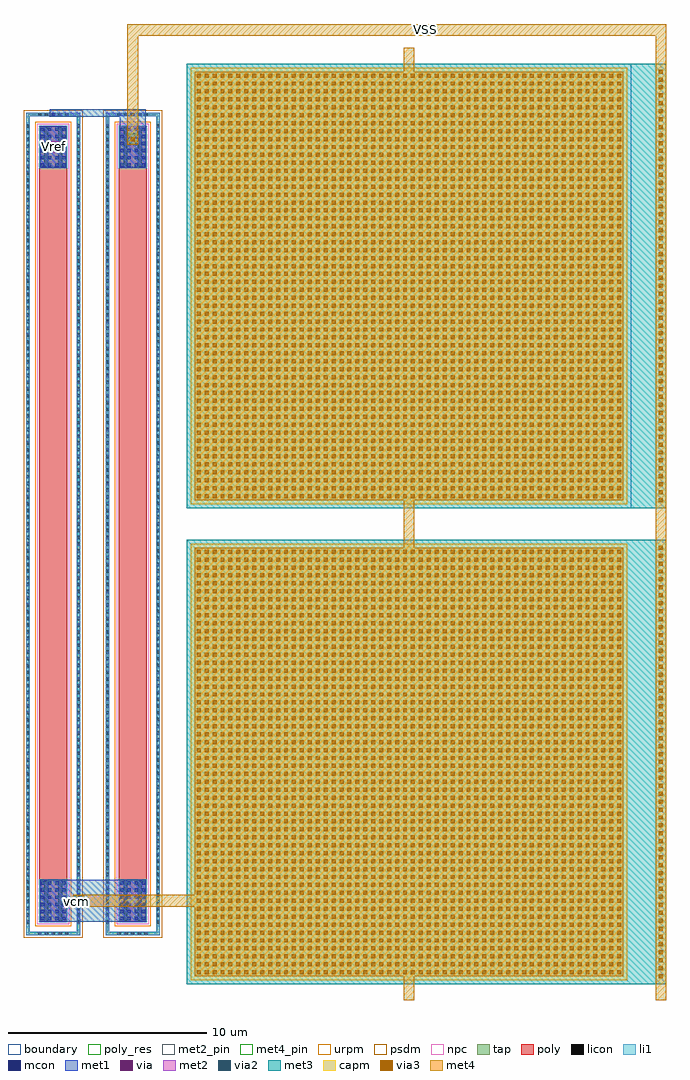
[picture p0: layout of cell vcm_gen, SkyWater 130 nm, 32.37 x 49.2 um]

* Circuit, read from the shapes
.subckt vcm_gen VSS Vref vcm
XC1 vcm VSS sky130_fd_pr__cap_mim_m3_1 w=22 l=22 m=2
XR2 Vref vcm VSS sky130_fd_pr__res_xhigh_po w=1.41 l=35.88
XR3 VSS vcm VSS sky130_fd_pr__res_xhigh_po w=1.41 l=35.88
.ends

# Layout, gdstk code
import gdstk
lib = gdstk.Library(unit=1e-6, precision=1e-09)
def R(c, l, rs):  # rectangles x0, y0, x1, y1
    for r in rs: c.add(gdstk.rectangle(r[:2], r[2:], *l))
def A(c, l, x, y, w, h, nx, ny, dx, dy):  # array of equal rectangles
    R(c, l, [(x+i*dx, y+j*dy, x+i*dx+w, y+j*dy+h) for i in range(nx) for j in range(ny)])
tap = (65, 44)
poly_res = (66, 13)
poly = (66, 20)
licon = (66, 44)
li1 = (67, 20)
mcon = (67, 44)
met1 = (68, 20)
via = (68, 44)
met2_pin = (69, 16)
met2 = (69, 20)
via2 = (69, 44)
met3 = (70, 20)
via3 = (70, 44)
met4_pin = (71, 16)
met4 = (71, 20)
urpm = (79, 20)
capm = (89, 44)
psdm = (94, 20)
npc = (95, 20)
boundary = (235, 4)

sky130_fd_pr__res_xhigh_ = lib.new_cell('sky130_fd_pr__res_xhigh_po_1p41_BDUJGV')
R(sky130_fd_pr__res_xhigh_, tap, [(-1.355,-20.73,1.355,-20.56), (-1.355,-20.56,-1.185,20.56), (1.185,-20.56,1.355,20.56), (-1.355,20.56,1.355,20.73)])
R(sky130_fd_pr__res_xhigh_, poly_res, [(-0.705,-18,0.705,18)])
R(sky130_fd_pr__res_xhigh_, poly, [(-0.705,-20.08,0.705,20.08)])
A(sky130_fd_pr__res_xhigh_, licon, -0.765, -20.73, 0.17, 0.17, 5, 2, 0.34, 41.29)
A(sky130_fd_pr__res_xhigh_, licon, -1.355, -20.145, 0.17, 0.17, 1, 119, 0, 0.34)
A(sky130_fd_pr__res_xhigh_, licon, 1.185, -20.145, 0.17, 0.17, 1, 119, 0, 0.34)
R(sky130_fd_pr__res_xhigh_, licon, [(-0.45,-20,-0.26,-18), (0.26,-20,0.45,-18), (-0.45,18,-0.26,20), (0.26,18,0.45,20)])
R(sky130_fd_pr__res_xhigh_, li1, [(-1.355,-20.73,1.355,-20.56), (-1.355,-20.56,-1.185,20.56), (1.185,-20.56,1.355,20.56), (-0.705,-20.08,0.705,-17.92), (-0.705,17.92,0.705,20.08), (-1.355,20.56,1.355,20.73)])
A(sky130_fd_pr__res_xhigh_, mcon, -0.625, -19.985, 0.17, 0.17, 4, 6, 0.36, 0.36)
A(sky130_fd_pr__res_xhigh_, mcon, -0.625, 18.01, 0.17, 0.17, 4, 6, 0.36, 0.36)
R(sky130_fd_pr__res_xhigh_, met1, [(-0.655,-20.05,0.655,-17.945), (-0.655,17.945,0.655,20.05)])
R(sky130_fd_pr__res_xhigh_, urpm, [(-0.905,-20.28,0.905,20.28)])
R(sky130_fd_pr__res_xhigh_, psdm, [(-1.48,-20.855,1.48,20.855)])
R(sky130_fd_pr__res_xhigh_, npc, [(-0.8,-20.175,0.8,20.175)])
R(sky130_fd_pr__res_xhigh_, boundary, [(-1.27,-20.645,1.27,20.645)])
sky130_fd_pr__res_xhigh_.add(gdstk.Label('B', (0,-20.645), layer=67, texttype=5))
sky130_fd_pr__res_xhigh_.add(gdstk.Label('R1', (0,19.905), layer=67, texttype=5))
sky130_fd_pr__res_xhigh_.add(gdstk.Label('R2', (0,-19.905), layer=67, texttype=5))

sky130_fd_pr__cap_mim_m3 = lib.new_cell('sky130_fd_pr__cap_mim_m3_1_CGC2GW')
R(sky130_fd_pr__cap_mim_m3, met3, [(-12.08,-23.2,12.08,-0.8), (-12.08,0.8,12.08,23.2)])
A(sky130_fd_pr__cap_mim_m3, via3, 11.72, -22.9, 0.2, 0.2, 1, 55, 0, 0.4)
A(sky130_fd_pr__cap_mim_m3, via3, -11.58, -22.7, 0.2, 0.2, 54, 54, 0.4, 0.4)
A(sky130_fd_pr__cap_mim_m3, via3, 11.72, 1.1, 0.2, 0.2, 1, 55, 0, 0.4)
A(sky130_fd_pr__cap_mim_m3, via3, -11.58, 1.3, 0.2, 0.2, 54, 54, 0.4, 0.4)
R(sky130_fd_pr__cap_mim_m3, met4, [(-1.14,-24,-0.62,-22.805), (11.56,-24,12.08,24), (-11.685,-22.805,9.925,-1.195), (-1.14,-1.195,-0.62,1.195), (-11.685,1.195,9.925,22.805), (-1.14,22.805,-0.62,24)])
R(sky130_fd_pr__cap_mim_m3, capm, [(-11.88,-23,10.12,-1), (-11.88,1,10.12,23)])
R(sky130_fd_pr__cap_mim_m3, boundary, [(-12.08,0.8,10.32,23.2)])
sky130_fd_pr__cap_mim_m3.add(gdstk.Label('C2', (11.82,-12), layer=71, texttype=5))
sky130_fd_pr__cap_mim_m3.add(gdstk.Label('C1', (-0.88,-12), layer=71, texttype=5))

vcm_gen = lib.new_cell('vcm_gen')
R(vcm_gen, li1, [(1.185,44.16,1.355,44.33), (5.185,44.16,5.355,44.33)])
R(vcm_gen, mcon, [(1.185,44.16,1.355,44.33), (5.185,44.16,5.355,44.33)])
R(vcm_gen, met1, [(0.615,3.55,5.925,5.655), (4.615,41.545,5.925,44.12), (0.99,42.32,1.55,42.88), (1.1,44.12,5.925,44.5)])
R(vcm_gen, via, [(2.465,4.525,2.615,4.675), (1.195,42.525,1.345,42.675), (5.195,42.925,5.345,43.075)])
R(vcm_gen, met2_pin, [(2.4,4.5,2.5,4.6), (1.22,42.55,1.32,42.65)])
R(vcm_gen, met2, [(2.26,4.32,2.82,4.88), (0.99,42.32,1.55,42.88), (4.99,42.72,5.55,43.28)])
R(vcm_gen, via2, [(2.44,4.5,2.64,4.7), (5.17,42.9,5.37,43.1)])
R(vcm_gen, met3, [(2.26,4.32,2.82,4.88), (4.99,42.72,5.55,43.28)])
R(vcm_gen, via3, [(2.44,4.5,2.64,4.7), (5.17,42.9,5.37,43.1)])
R(vcm_gen, met4_pin, [(20,48.45,20.1,48.55)])
R(vcm_gen, met4, [(2.26,4.3,9,4.9), (4.99,42.72,5.55,48.2), (31.64,47.4,32.16,48.2), (4.99,48.2,32.16,48.8)])
vcm_gen.add(gdstk.Reference(sky130_fd_pr__res_xhigh_, (5.27,23.6)))
vcm_gen.add(gdstk.Reference(sky130_fd_pr__res_xhigh_, (1.27,23.6)))
vcm_gen.add(gdstk.Reference(sky130_fd_pr__cap_mim_m3, (20.08,23.6)))
vcm_gen.add(gdstk.Label('vcm', (2.45,4.55), layer=69, texttype=5))
vcm_gen.add(gdstk.Label('Vref', (1.27,42.6), layer=69, texttype=5))
vcm_gen.add(gdstk.Label('VSS', (20.05,48.5), layer=71, texttype=5))

lib.write_gds('vcm_gen.gds')
